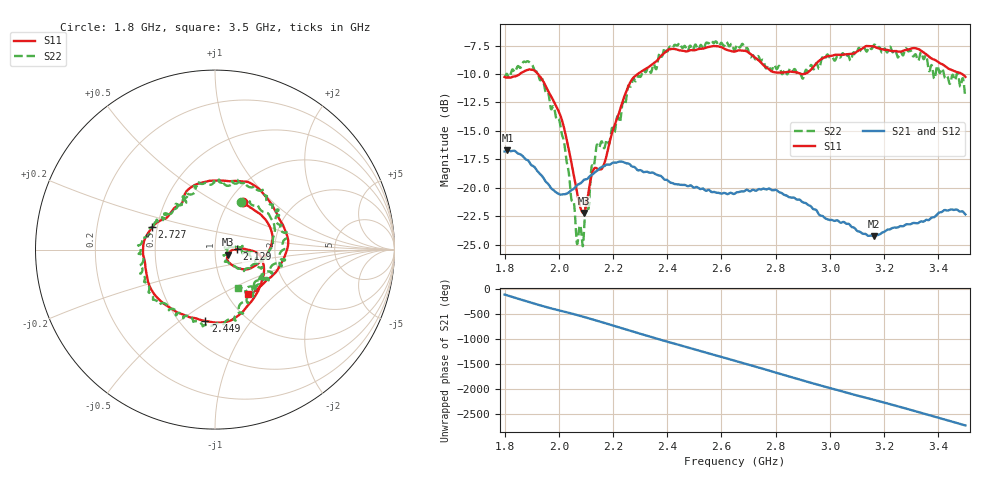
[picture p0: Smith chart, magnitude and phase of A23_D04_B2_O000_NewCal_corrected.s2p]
! Created with skrf 1.9.0 (http://scikit-rf.org).
# Hz S RI R 50.0
!freq ReS11 ImS11 ReS21 ImS21 ReS12 ImS12 ReS22 ImS22
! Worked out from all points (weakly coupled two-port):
!   1601 points, 1.8 GHz to 3.5 GHz, reference 50 ohm
!   highest |S21| = -16.71 dB at 1.811 GHz (marker M1); lowest = -24.2 dB at 3.161 GHz (marker M2)
!   lowest |S11| = -22.2 dB at 2.091 GHz (marker M3), VSWR 1.17, Z = 57.7 - j3.23 ohm
!   |S11| at or under -10 dB: start of sweep to 1.856 GHz; 1.923 GHz to 2.29 GHz (367.1 MHz wide, 17.4 % of centre); 3.487862 GHz to end of sweep (the widest 3 of 4)
!   |S22| runs from -25.1 to -7.1 dB; largest |S21 - S12| = 0.0023
!   S11 on the Smith chart (normalised r, x): 1.8 GHz: 1.16, +0.68; 2.129 GHz: 1.28, +0.00; 2.449 GHz: 0.66, -0.63; 2.727 GHz: 0.47, +0.14; 3.5 GHz: 1.24, -0.68
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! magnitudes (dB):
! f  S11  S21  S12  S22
! 1.8 GHz  -10.3  -16.8  -16.8  -10.3
! 1.811 GHz  -10.3  -16.7  -16.7  -10.1
! 1.886 GHz  -9.6  -17.6  -17.6  -8.9
! 1.941 GHz  -10.6  -19.1  -19.1  -10.5
! 2.007 GHz  -13.7  -20.6  -20.6  -14.8
! 2.066 GHz  -20.2  -19.8  -19.8  -24.7
! 2.084 GHz  -22.0  -19.5  -19.5  -24.1
! 2.091 GHz  -22.2  -19.3  -19.4  -24.6
! 2.129 GHz  -18.3  -18.7  -18.7  -18.1
! 2.166 GHz  -18.0  -18.1  -18.1  -16.5
! 2.225 GHz  -13.2  -17.7  -17.7  -14.2
! 2.265 GHz  -10.6  -18.0  -18.0  -11.1
! 2.367 GHz  -8.7  -18.9  -18.8  -8.5
! 2.449 GHz  -7.9  -19.7  -19.7  -7.4
! 2.65 GHz  -8.0  -20.5  -20.5  -7.9
! 2.727 GHz  -8.6  -20.3  -20.2  -8.7
! 2.897 GHz  -10.0  -21.2  -21.2  -10.3
! 2.934 GHz  -9.5  -21.7  -21.7  -9.3
! 3.161 GHz  -7.6  -24.2  -24.2  -7.5
! 3.217 GHz  -7.9  -23.7  -23.6  -7.7
! 3.344 GHz  -8.1  -23.0  -22.9  -8.6
! 3.5 GHz  -10.3  -22.3  -22.3  -12.0
